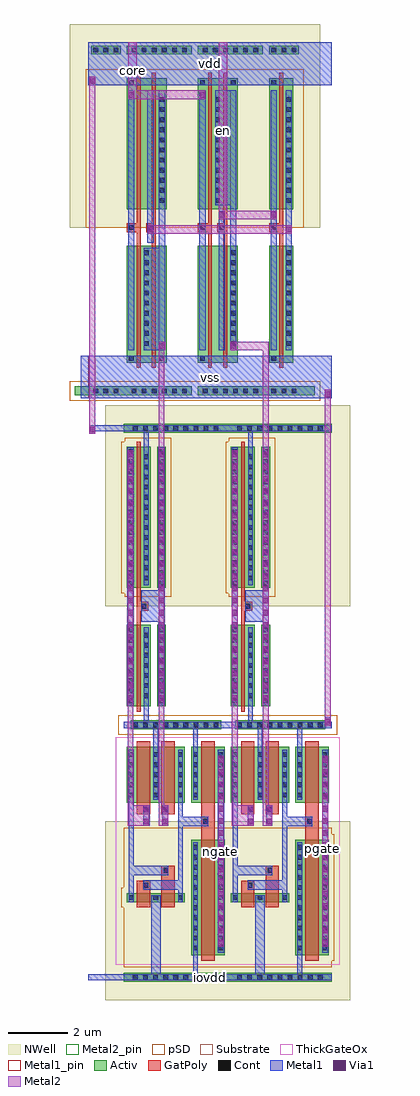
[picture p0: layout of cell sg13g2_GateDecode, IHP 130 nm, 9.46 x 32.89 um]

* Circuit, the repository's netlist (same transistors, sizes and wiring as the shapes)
* Extracted by KLayout with SG13G2 LVS runset on : 20/02/2026 17:36

.SUBCKT sg13g2_GateDecode iovdd vdd vss ngate pgate core en
X$3 \$8 core \$7 vdd vss \$11 sg13g2_io_nor2_x1_noptap
X$5 en \$8 vdd vss \$11 sg13g2_io_inv_x1_noptap
X$6 en \$6 core vdd vss \$11 sg13g2_io_nand2_x1_noptap
R$1 \$11 vss ptap1 A=4.1895p P=30.33u
M$3 \$I15 \$6 vss \$11 sg13_lv_nmos L=0.13u W=2.75u AS=0.935p AD=0.935p
+ PS=6.18u PD=6.18u
M$4 vss \$I14 pgate \$11 sg13_hv_nmos L=0.45u W=1.9u AS=0.646p AD=0.646p
+ PS=4.48u PD=4.48u
M$5 \$I13 \$I15 vss \$11 sg13_hv_nmos L=0.45u W=1.9u AS=0.646p AD=0.361p
+ PS=4.48u PD=2.28u
M$6 vss \$6 \$I14 \$11 sg13_hv_nmos L=0.45u W=1.9u AS=0.361p AD=0.646p PS=2.28u
+ PD=4.48u
M$7 \$I15 \$6 vdd vdd sg13_lv_pmos L=0.13u W=4.75u AS=1.615p AD=1.615p
+ PS=10.18u PD=10.18u
M$8 iovdd \$I14 pgate iovdd sg13_hv_pmos L=0.45u W=3.9u AS=1.326p AD=1.326p
+ PS=8.48u PD=8.48u
M$9 \$I13 \$I14 iovdd iovdd sg13_hv_pmos L=0.45u W=0.3u AS=0.102p AD=0.057p
+ PS=1.28u PD=0.68u
M$10 iovdd \$I13 \$I14 iovdd sg13_hv_pmos L=0.45u W=0.3u AS=0.057p AD=0.102p
+ PS=0.68u PD=1.28u
M$12 \$I18 \$7 vss \$11 sg13_lv_nmos L=0.13u W=2.75u AS=0.935p AD=0.935p
+ PS=6.18u PD=6.18u
M$13 vss \$I17 ngate \$11 sg13_hv_nmos L=0.45u W=1.9u AS=0.646p AD=0.646p
+ PS=4.48u PD=4.48u
M$14 \$I16 \$I18 vss \$11 sg13_hv_nmos L=0.45u W=1.9u AS=0.646p AD=0.361p
+ PS=4.48u PD=2.28u
M$15 vss \$7 \$I17 \$11 sg13_hv_nmos L=0.45u W=1.9u AS=0.361p AD=0.646p
+ PS=2.28u PD=4.48u
M$16 \$I18 \$7 vdd vdd sg13_lv_pmos L=0.13u W=4.75u AS=1.615p AD=1.615p
+ PS=10.18u PD=10.18u
M$17 iovdd \$I17 ngate iovdd sg13_hv_pmos L=0.45u W=3.9u AS=1.326p AD=1.326p
+ PS=8.48u PD=8.48u
M$18 \$I16 \$I17 iovdd iovdd sg13_hv_pmos L=0.45u W=0.3u AS=0.102p AD=0.057p
+ PS=1.28u PD=0.68u
M$19 iovdd \$I16 \$I17 iovdd sg13_hv_pmos L=0.45u W=0.3u AS=0.057p AD=0.102p
+ PS=0.68u PD=1.28u
.ENDS sg13g2_GateDecode

.SUBCKT sg13g2_io_nand2_x1_noptap i1 nq i0 vdd vss \$6
M$1 vss i0 \$8 \$6 sg13_lv_nmos L=0.13u W=3.93u AS=1.3362p AD=0.7467p PS=8.54u
+ PD=4.31u
M$2 \$8 i1 nq \$6 sg13_lv_nmos L=0.13u W=3.93u AS=0.7467p AD=1.4148p PS=4.31u
+ PD=8.58u
M$3 vdd i0 nq vdd sg13_lv_pmos L=0.13u W=4.41u AS=1.4994p AD=0.8379p PS=9.5u
+ PD=4.79u
M$4 nq i1 vdd vdd sg13_lv_pmos L=0.13u W=4.41u AS=0.8379p AD=1.5876p PS=4.79u
+ PD=9.54u
.ENDS sg13g2_io_nand2_x1_noptap

.SUBCKT sg13g2_io_nor2_x1_noptap i1 i0 nq vdd vss \$6
M$1 vss i0 nq \$6 sg13_lv_nmos L=0.13u W=3.93u AS=1.3362p AD=0.7467p PS=8.54u
+ PD=4.31u
M$2 nq i1 vss \$6 sg13_lv_nmos L=0.13u W=3.93u AS=0.7467p AD=1.4148p PS=4.31u
+ PD=8.58u
M$3 vdd i0 \$8 vdd sg13_lv_pmos L=0.13u W=4.41u AS=1.4994p AD=0.8379p PS=9.5u
+ PD=4.79u
M$4 \$8 i1 nq vdd sg13_lv_pmos L=0.13u W=4.41u AS=0.8379p AD=1.5876p PS=4.79u
+ PD=9.54u
.ENDS sg13g2_io_nor2_x1_noptap

.SUBCKT sg13g2_io_inv_x1_noptap i nq vdd vss \$5
M$1 vss i nq \$5 sg13_lv_nmos L=0.13u W=3.93u AS=1.3362p AD=1.3362p PS=8.54u
+ PD=8.54u
M$2 vdd i nq vdd sg13_lv_pmos L=0.13u W=4.41u AS=1.4994p AD=1.4994p PS=9.5u
+ PD=9.5u
.ENDS sg13g2_io_inv_x1_noptap

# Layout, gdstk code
import gdstk
lib = gdstk.Library(unit=1e-6, precision=5e-09)
def R(c, l, rs):  # rectangles x0, y0, x1, y1
    for r in rs: c.add(gdstk.rectangle(r[:2], r[2:], *l))
def A(c, l, x, y, w, h, nx, ny, dx, dy):  # array of equal rectangles
    R(c, l, [(x+i*dx, y+j*dy, x+i*dx+w, y+j*dy+h) for i in range(nx) for j in range(ny)])
def P(c, l, *ps):  # polygons
    for p in ps: c.add(gdstk.Polygon(p, *l))
Activ = (1, 0)
GatPoly = (5, 0)
Cont = (6, 0)
Metal1 = (8, 0)
Metal1_pin = (8, 2)
Metal2 = (10, 0)
Metal2_pin = (10, 2)
pSD = (14, 0)
Via1 = (19, 0)
NWell = (31, 0)
Substrate = (40, 0)
ThickGateOx = (44, 0)

sg13g2_io_inv_x1_noptap = lib.new_cell('sg13g2_io_inv_x1_noptap')
R(sg13g2_io_inv_x1_noptap, Activ, [(-0.44,0.105,1.64,0.405), (0.105,1.21,0.915,5.14), (0.105,6.38,0.915,10.79), (0.105,11.595,1.095,11.895)])
P(sg13g2_io_inv_x1_noptap, GatPoly, [(0.445,1.03),(0.445,5.61),(0.105,5.61),(0.105,5.91),(0.445,5.91),(0.445,10.97),(0.575,10.97),(0.575,1.03)])
A(sg13g2_io_inv_x1_noptap, Cont, 0.18, 0.175, 0.16, 0.16, 3, 2, 0.34, 11.49)
A(sg13g2_io_inv_x1_noptap, Cont, 0.685, 1.775, 0.16, 0.16, 1, 10, 0, 0.34)
A(sg13g2_io_inv_x1_noptap, Cont, 0.685, 6.595, 0.16, 0.16, 1, 11, 0, 0.34)
R(sg13g2_io_inv_x1_noptap, Cont, [(0.175,1.28,0.335,1.44), (0.175,5.68,0.335,5.84), (0.175,10.56,0.335,10.72)])
R(sg13g2_io_inv_x1_noptap, Metal1, [(-0.62,0,1.82,1.44), (0.15,1.62,0.36,10.38), (0.66,1.62,0.87,10.38), (0,10.56,1.2,12)])
R(sg13g2_io_inv_x1_noptap, Metal1_pin, [(0,0,1.2,1.44), (0.15,1.62,0.36,10.38), (0.66,1.62,0.87,10.38), (0,10.56,1.2,12)])
R(sg13g2_io_inv_x1_noptap, pSD, [(-0.62,-0.075,1.82,0.585), (-0.075,5.76,1.275,11.09)])
R(sg13g2_io_inv_x1_noptap, NWell, [(-0.62,5.76,1.82,12.62)])
R(sg13g2_io_inv_x1_noptap, Substrate, [(-0.44,0.105,1.64,0.405)])
sg13g2_io_inv_x1_noptap.add(gdstk.Label('sub!', (0.71,0.22), layer=63, texttype=0))
sg13g2_io_inv_x1_noptap.add(gdstk.Label('nq', (0.78,3.755), layer=8, texttype=25))
sg13g2_io_inv_x1_noptap.add(gdstk.Label('i', (0.255,6), layer=8, texttype=25))
sg13g2_io_inv_x1_noptap.add(gdstk.Label('vdd', (0.6,11.28), layer=8, texttype=25))
sg13g2_io_inv_x1_noptap.add(gdstk.Label('vss', (0.6,0.72), layer=8, texttype=25))

sg13g2_levelup = lib.new_cell('sg13g2_LevelUp')
R(sg13g2_levelup, Activ, [(0,-0.15,3.51,0.15), (2.275,0.73,3.405,4.63), (0.105,2.53,2.065,2.83), (0.105,5.87,1.235,7.77), (1.15,5.87,1.85,7.77), (1.765,5.87,2.065,7.77), (2.275,5.87,3.405,7.77), (0.245,8.35,3.29,8.65), (0.105,9.13,0.915,11.88), (1.125,9.13,1.425,11.88), (0.105,13.12,0.915,17.87), (1.125,13.12,1.425,17.87), (0,18.35,3.51,18.65)])
R(sg13g2_levelup, GatPoly, [(2.615,0.55,3.065,7.95), (0.445,2.35,0.895,3.01), (0.445,2.35,0.895,3.25), (1.275,2.35,1.725,3.75), (1.275,3.45,1.575,3.75), (0.445,5.49,0.895,7.95), (1.275,5.49,1.725,7.95)])
P(sg13g2_levelup, GatPoly, [(0.445,8.95),(0.445,18.05),(0.575,18.05),(0.575,12.65),(0.825,12.65),(0.825,12.35),(0.575,12.35),(0.575,8.95)],
  [(0.595,5.49),(0.595,5.69),(0.445,5.69),(0.445,7.95),(0.895,7.95),(0.895,5.49)],
  [(1.275,5.49),(1.275,7.95),(1.725,7.95),(1.725,5.69),(1.575,5.69),(1.575,5.49)])
A(sg13g2_levelup, Cont, 0.315, -0.08, 0.16, 0.16, 9, 2, 0.34, 8.5)
A(sg13g2_levelup, Cont, 2.345, 0.9, 0.16, 0.16, 1, 11, 0, 0.34)
A(sg13g2_levelup, Cont, 3.175, 0.9, 0.16, 0.16, 1, 11, 0, 0.34)
A(sg13g2_levelup, Cont, 0.175, 2.6, 0.16, 0.16, 3, 2, 0.83, 3.46)
A(sg13g2_levelup, Cont, 2.345, 6.06, 0.16, 0.16, 1, 5, 0, 0.34)
A(sg13g2_levelup, Cont, 3.175, 6.06, 0.16, 0.16, 1, 5, 0, 0.34)
A(sg13g2_levelup, Cont, 0.175, 6.4, 0.16, 0.16, 3, 4, 0.83, 0.34)
A(sg13g2_levelup, Cont, 0.175, 9.235, 0.16, 0.16, 1, 8, 0, 0.34)
A(sg13g2_levelup, Cont, 1.195, 9.235, 0.16, 0.16, 1, 8, 0, 0.34)
A(sg13g2_levelup, Cont, 0.685, 9.405, 0.16, 0.16, 1, 7, 0, 0.34)
A(sg13g2_levelup, Cont, 0.175, 13.205, 0.16, 0.16, 1, 14, 0, 0.34)
A(sg13g2_levelup, Cont, 1.195, 13.205, 0.16, 0.16, 1, 14, 0, 0.34)
A(sg13g2_levelup, Cont, 0.685, 13.375, 0.16, 0.16, 1, 13, 0, 0.34)
A(sg13g2_levelup, Cont, 0.315, 18.42, 0.16, 0.16, 9, 1, 0.34, 0)
R(sg13g2_levelup, Cont, [(0.665,3.02,0.825,3.18), (1.345,3.52,1.505,3.68), (2.685,5.17,2.845,5.33), (0.665,5.56,0.825,5.72), (1.345,5.56,1.505,5.72), (0.595,12.42,0.755,12.58)])
R(sg13g2_levelup, Metal1, [(3.175,0.82,3.385,7.66), (0.665,2.94,0.825,3.26), (1.345,3.44,1.505,3.76), (0.665,5.1,0.875,5.8), (1.295,5.1,1.505,5.8), (1.345,5.48,1.505,5.8), (0.125,9.155,0.335,17.865)])
P(sg13g2_levelup, Metal1, [(1.835,2.52),(1.835,2.94),(0.665,2.94),(0.665,3.26),(1.835,3.26),(1.835,7.66),(1.995,7.66),(1.995,5.41),(2.845,5.41),(2.845,5.09),(1.995,5.09),(1.995,2.52)],
  [(0,-0.105),(0,0.105),(0.925,0.105),(0.925,2.76),(1.245,2.76),(1.245,0.105),(2.345,0.105),(2.345,4.54),(2.505,4.54),(2.505,0.105),(3.51,0.105),(3.51,-0.105)],
  [(0.175,2.52),(0.175,7.66),(0.335,7.66),(0.335,3.76),(1.505,3.76),(1.505,3.44),(0.335,3.44),(0.335,2.52)],
  [(1.17,9.155),(1.17,11.97),(0.595,11.97),(0.595,13.03),(1.17,13.03),(1.17,17.865),(1.38,17.865),(1.38,9.155)],
  [(1.005,5.98),(1.005,8.395),(0,8.395),(0,8.605),(0.685,8.605),(0.685,11.79),(0.845,11.79),(0.845,8.605),(3.51,8.605),(3.51,8.395),(2.505,8.395),(2.505,5.98),(2.345,5.98),(2.345,8.395),(1.165,8.395),(1.165,5.98)],
  [(0.685,13.21),(0.685,18.395),(0,18.395),(0,18.605),(3.51,18.605),(3.51,18.395),(0.845,18.395),(0.845,13.21)])
R(sg13g2_levelup, Metal1_pin, [(0,-0.105,3.51,0.105), (0,8.395,3.51,8.605), (0,18.395,3.51,18.605)])
R(sg13g2_levelup, Metal2, [(3.18,1.02,3.38,7.46)])
P(sg13g2_levelup, Metal2, [(1.175,5.1),(1.175,17.755),(1.375,17.755),(1.375,5.8),(1.5,5.8),(1.5,5.1)],
  [(0.13,5.1),(0.13,17.755),(0.33,17.755),(0.33,5.8),(0.87,5.8),(0.87,5.1)])
R(sg13g2_levelup, Metal2_pin, [(3.18,1.02,3.38,7.46), (1.175,9.265,1.375,17.755)])
R(sg13g2_levelup, pSD, [(-0.18,8.17,3.69,8.83)])
P(sg13g2_levelup, pSD, [(0.035,12.82),(0.035,12.94),(-0.075,12.94),(-0.075,18.05),(0.035,18.05),(0.035,18.17),(1.605,18.17),(1.605,12.82)],
  [(0,0.33),(0,2.35),(-0.075,2.35),(-0.075,3.01),(0,3.01),(0,5.03),(3.51,5.03),(3.51,4.81),(3.585,4.81),(3.585,0.55),(3.51,0.55),(3.51,0.33)])
A(sg13g2_levelup, Via1, 3.185, 1.07, 0.19, 0.19, 1, 16, 0, 0.41)
A(sg13g2_levelup, Via1, 0.135, 9.315, 0.19, 0.19, 1, 21, 0, 0.41)
A(sg13g2_levelup, Via1, 1.18, 9.315, 0.19, 0.19, 1, 21, 0, 0.41)
R(sg13g2_levelup, Via1, [(0.675,5.15,0.865,5.34), (1.305,5.15,1.495,5.34), (0.675,5.56,0.865,5.75), (1.305,5.56,1.495,5.75)])
R(sg13g2_levelup, NWell, [(-0.62,-0.77,4.13,5.25), (-0.62,12.5,4.13,19.27)])
R(sg13g2_levelup, Substrate, [(0.245,8.35,3.29,8.65)])
R(sg13g2_levelup, ThickGateOx, [(-0.27,0.42,3.78,8.08)])
sg13g2_levelup.add(gdstk.Label('sub!', (1.61,8.535), layer=63, texttype=0))
sg13g2_levelup.add(gdstk.Label('iovdd', (1.755,0), layer=8, texttype=25))
sg13g2_levelup.add(gdstk.Label('vss', (1.755,8.5), layer=8, texttype=25))
sg13g2_levelup.add(gdstk.Label('vdd', (1.755,18.5), layer=8, texttype=25))
sg13g2_levelup.add(gdstk.Label('o', (3.28,4.24), layer=10, texttype=25))
sg13g2_levelup.add(gdstk.Label('i', (1.275,13.51), layer=10, texttype=25))

sg13g2_io_nor2_x1_noptap = lib.new_cell('sg13g2_io_nor2_x1_noptap')
R(sg13g2_io_nor2_x1_noptap, Activ, [(0.105,0.105,2.295,0.405), (0.105,1.21,1.445,5.14), (0.105,6.38,1.445,10.79), (0.105,11.595,2.295,11.895)])
P(sg13g2_io_nor2_x1_noptap, GatPoly, [(0.955,1.03),(0.955,5.61),(0.755,5.61),(0.755,5.91),(0.955,5.91),(0.955,10.97),(1.085,10.97),(1.085,1.03)],
  [(0.445,1.03),(0.445,5.61),(0.105,5.61),(0.105,5.91),(0.445,5.91),(0.445,10.97),(0.575,10.97),(0.575,1.03)])
A(sg13g2_io_nor2_x1_noptap, Cont, 0.27, 0.175, 0.16, 0.16, 6, 2, 0.34, 11.49)
A(sg13g2_io_nor2_x1_noptap, Cont, 0.685, 1.775, 0.16, 0.16, 1, 10, 0, 0.34)
A(sg13g2_io_nor2_x1_noptap, Cont, 1.215, 6.595, 0.16, 0.16, 1, 11, 0, 0.34)
R(sg13g2_io_nor2_x1_noptap, Cont, [(0.175,1.28,0.335,1.44), (1.215,1.28,1.375,1.44), (0.175,5.68,0.335,5.84), (0.825,5.68,0.985,5.84), (0.175,10.56,0.335,10.72)])
R(sg13g2_io_nor2_x1_noptap, Metal1, [(0,0,2.4,1.44), (0.15,1.62,0.36,10.38), (0.8,5.255,1.01,10.38), (0,10.56,2.4,12)])
P(sg13g2_io_nor2_x1_noptap, Metal1, [(0.685,1.62),(0.685,5.075),(1.19,5.075),(1.19,10.38),(1.4,10.38),(1.4,1.62)])
R(sg13g2_io_nor2_x1_noptap, Metal1_pin, [(0,0,2.4,1.44), (0.15,1.62,0.36,10.38), (1.19,1.62,1.4,10.38), (0.8,5.255,1.01,10.38), (0,10.56,2.4,12)])
R(sg13g2_io_nor2_x1_noptap, pSD, [(-0.075,-0.075,2.475,0.585), (-0.075,5.76,2.475,11.09)])
R(sg13g2_io_nor2_x1_noptap, NWell, [(-0.62,5.76,3.02,12.62)])
R(sg13g2_io_nor2_x1_noptap, Substrate, [(0.105,0.105,2.295,0.405)])
sg13g2_io_nor2_x1_noptap.add(gdstk.Label('sub!', (0.37,0.26), layer=63, texttype=0))
sg13g2_io_nor2_x1_noptap.add(gdstk.Label('i1', (0.92,6.455), layer=8, texttype=25))
sg13g2_io_nor2_x1_noptap.add(gdstk.Label('nq', (1.28,4.63), layer=8, texttype=25))
sg13g2_io_nor2_x1_noptap.add(gdstk.Label('i0', (0.255,6), layer=8, texttype=25))
sg13g2_io_nor2_x1_noptap.add(gdstk.Label('vdd', (1.2,11.28), layer=8, texttype=25))
sg13g2_io_nor2_x1_noptap.add(gdstk.Label('vss', (1.2,0.72), layer=8, texttype=25))

sg13g2_io_tie_noptap = lib.new_cell('sg13g2_io_tie_noptap')
R(sg13g2_io_tie_noptap, Activ, [(-0.445,0.105,1.64,0.405), (0.105,11.595,1.095,11.895), (0.11,11.595,1.09,11.895)])
A(sg13g2_io_tie_noptap, Cont, 0.18, 0.175, 0.16, 0.16, 3, 2, 0.34, 11.49)
R(sg13g2_io_tie_noptap, Metal1, [(-0.25,0,1.47,1.44), (0,10.56,1.2,12)])
R(sg13g2_io_tie_noptap, Metal1_pin, [(0,0,1.2,1.44), (0,10.56,1.2,12)])
R(sg13g2_io_tie_noptap, pSD, [(-0.62,-0.075,1.82,0.585), (-0.075,5.76,1.275,11.09)])
R(sg13g2_io_tie_noptap, NWell, [(-0.62,5.76,1.82,12.62)])
R(sg13g2_io_tie_noptap, Substrate, [(-0.445,0.105,1.64,0.405)])
sg13g2_io_tie_noptap.add(gdstk.Label('sub!', (0.62,0.32), layer=63, texttype=0))
sg13g2_io_tie_noptap.add(gdstk.Label('vss', (0.6,0.72), layer=8, texttype=25))
sg13g2_io_tie_noptap.add(gdstk.Label('vdd', (0.6,11.28), layer=8, texttype=25))

sg13g2_io_nand2_x1_nopta = lib.new_cell('sg13g2_io_nand2_x1_noptap')
R(sg13g2_io_nand2_x1_nopta, Activ, [(0.105,0.105,2.295,0.405), (0.105,1.21,1.445,5.14), (0.105,6.38,1.445,10.79), (0.105,11.595,2.295,11.895)])
P(sg13g2_io_nand2_x1_nopta, GatPoly, [(0.955,1.03),(0.955,5.61),(0.755,5.61),(0.755,5.91),(0.955,5.91),(0.955,10.97),(1.085,10.97),(1.085,1.03)],
  [(0.445,1.03),(0.445,5.61),(0.105,5.61),(0.105,5.91),(0.445,5.91),(0.445,10.97),(0.575,10.97),(0.575,1.03)])
A(sg13g2_io_nand2_x1_nopta, Cont, 0.27, 0.175, 0.16, 0.16, 6, 2, 0.34, 11.49)
A(sg13g2_io_nand2_x1_nopta, Cont, 1.215, 1.775, 0.16, 0.16, 1, 10, 0, 0.34)
A(sg13g2_io_nand2_x1_nopta, Cont, 0.685, 6.595, 0.16, 0.16, 1, 11, 0, 0.34)
R(sg13g2_io_nand2_x1_nopta, Cont, [(0.175,1.28,0.335,1.44), (0.175,5.68,0.335,5.84), (0.825,5.68,0.985,5.84), (0.175,10.56,0.335,10.72), (1.215,10.56,1.375,10.72)])
R(sg13g2_io_nand2_x1_nopta, Metal1, [(0,0,2.4,1.44), (0.15,1.62,0.36,10.38), (0.8,1.62,1.01,6.335), (0,10.56,2.4,12)])
P(sg13g2_io_nand2_x1_nopta, Metal1, [(1.19,1.62),(1.19,6.515),(0.685,6.515),(0.685,10.38),(1.4,10.38),(1.4,1.62)])
R(sg13g2_io_nand2_x1_nopta, Metal1_pin, [(0,0,2.4,1.44), (0.15,1.62,0.36,10.38), (0.8,1.62,1.01,6.335), (1.19,1.62,1.4,10.38), (0,10.56,2.4,12)])
R(sg13g2_io_nand2_x1_nopta, pSD, [(-0.075,-0.075,2.475,0.585), (-0.075,5.76,2.475,11.09)])
R(sg13g2_io_nand2_x1_nopta, NWell, [(-0.62,5.76,3.02,12.62)])
R(sg13g2_io_nand2_x1_nopta, Substrate, [(0.105,0.105,2.295,0.405)])
sg13g2_io_nand2_x1_nopta.add(gdstk.Label('sub!', (0.36,0.29), layer=63, texttype=0))
sg13g2_io_nand2_x1_nopta.add(gdstk.Label('nq', (1.32,10.025), layer=8, texttype=25))
sg13g2_io_nand2_x1_nopta.add(gdstk.Label('i1', (0.9,6), layer=8, texttype=25))
sg13g2_io_nand2_x1_nopta.add(gdstk.Label('i0', (0.255,6), layer=8, texttype=25))
sg13g2_io_nand2_x1_nopta.add(gdstk.Label('vdd', (1.2,11.28), layer=8, texttype=25))
sg13g2_io_nand2_x1_nopta.add(gdstk.Label('vss', (1.2,0.72), layer=8, texttype=25))

sg13g2_gatedecode = lib.new_cell('sg13g2_GateDecode')
R(sg13g2_gatedecode, Metal1, [(0,-19.605,8.22,-19.395), (7.97,-11.04,8.18,-10.75), (0,0,8.22,1.44), (2.39,1.62,2.6,1.91), (4.79,1.62,5,1.91), (2,5.545,2.21,5.835), (6.66,5.545,6.87,5.835), (4.4,6.045,4.61,6.335), (6.15,6.045,6.36,6.335), (1.35,10.09,1.56,10.38), (3.75,10.09,3.96,10.38), (0,10.56,8.22,12)])
P(sg13g2_gatedecode, Metal1, [(0.04,-1.185),(0.04,-0.895),(4.71,-0.895),(4.71,-1.105),(0.25,-1.105),(0.25,-1.185)])
R(sg13g2_gatedecode, Metal1_pin, [(0,-19.605,8.22,-19.395), (0,0,8.22,1.44), (0,10.56,8.22,12)])
R(sg13g2_gatedecode, Metal2, [(4.38,-18.48,4.58,-12.04), (7.89,-18.48,8.09,-12.04), (7.975,-11.04,8.175,0.29), (0.045,-1.185,0.245,10.85), (2.005,5.545,6.865,5.835)])
P(sg13g2_gatedecode, Metal2, [(5.885,-10.235),(5.885,1.62),(4.795,1.62),(4.795,1.91),(6.085,1.91),(6.085,-10.235)],
  [(2.375,-10.235),(2.375,1.91),(2.595,1.91),(2.595,1.62),(2.575,1.62),(2.575,-10.235)],
  [(1.355,10.09),(1.355,12),(1.645,12),(1.645,10.38),(3.955,10.38),(3.955,10.09)],
  [(4.405,6.045),(4.405,12),(4.695,12),(4.695,6.335),(6.355,6.335),(6.355,6.045)])
R(sg13g2_gatedecode, Metal2_pin, [(4.38,-18.48,4.58,-12.04), (7.89,-18.48,8.09,-12.04), (4.405,6.045,4.695,12), (1.355,10.09,1.645,12)])
R(sg13g2_gatedecode, Via1, [(7.98,-10.99,8.17,-10.8), (0.05,-1.135,0.24,-0.945), (7.98,0.05,8.17,0.24), (2.4,1.67,2.59,1.86), (4.8,1.67,4.99,1.86), (2.01,5.595,2.2,5.785), (6.67,5.595,6.86,5.785), (4.41,6.095,4.6,6.285), (6.16,6.095,6.35,6.285), (1.36,10.14,1.55,10.33), (3.76,10.14,3.95,10.33), (0.05,10.61,0.24,10.8)])
sg13g2_gatedecode.add(gdstk.Reference(sg13g2_io_inv_x1_noptap, (6,0)))
sg13g2_gatedecode.add(gdstk.Reference(sg13g2_levelup, (1.2,-19.5)))
sg13g2_gatedecode.add(gdstk.Reference(sg13g2_levelup, (4.71,-19.5)))
sg13g2_gatedecode.add(gdstk.Reference(sg13g2_io_nor2_x1_noptap, (1.2,0)))
sg13g2_gatedecode.add(gdstk.Reference(sg13g2_io_tie_noptap, (0,0)))
sg13g2_gatedecode.add(gdstk.Reference(sg13g2_io_nand2_x1_nopta, (3.6,0)))
sg13g2_gatedecode.add(gdstk.Label('iovdd', (4.11,-19.5), layer=8, texttype=25))
sg13g2_gatedecode.add(gdstk.Label('vdd', (4.11,11.28), layer=8, texttype=25))
sg13g2_gatedecode.add(gdstk.Label('vss', (4.11,0.72), layer=8, texttype=25))
sg13g2_gatedecode.add(gdstk.Label('en', (4.55,9.02), layer=10, texttype=25))
sg13g2_gatedecode.add(gdstk.Label('ngate', (4.48,-15.26), layer=10, texttype=25))
sg13g2_gatedecode.add(gdstk.Label('core', (1.5,11.045), layer=10, texttype=25))
sg13g2_gatedecode.add(gdstk.Label('pgate', (7.89,-15.155), layer=10, texttype=25))

lib.write_gds('sg13g2_GateDecode.gds')
